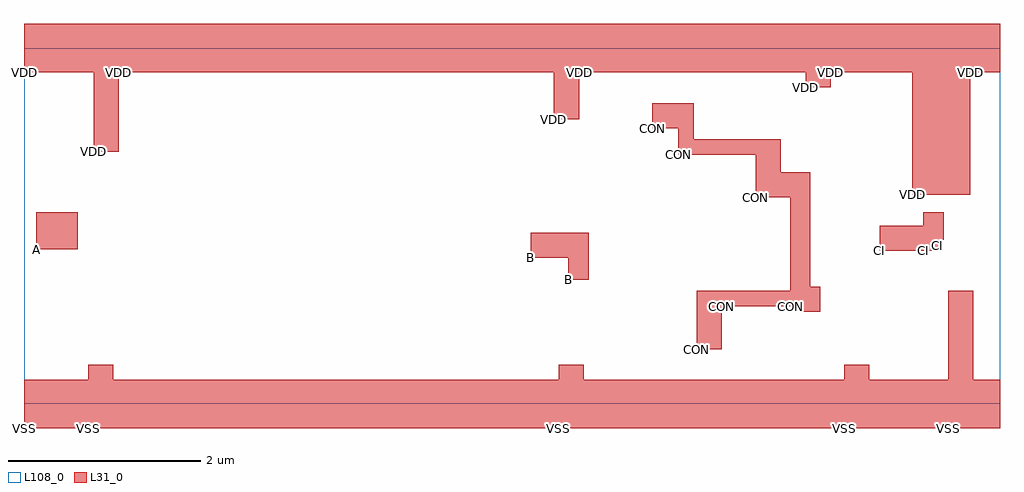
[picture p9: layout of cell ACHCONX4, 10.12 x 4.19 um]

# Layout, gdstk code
import gdstk
lib = gdstk.Library(unit=1e-6, precision=1e-09)
def R(c, l, rs):  # rectangles x0, y0, x1, y1
    for r in rs: c.add(gdstk.rectangle(r[:2], r[2:], *l))
L31_0 = (31, 0)
L108_0 = (108, 0)

achconx4 = lib.new_cell('ACHCONX4')
R(achconx4, L31_0, [(0,-0.25,0.665,0.25), (0.665,-0.25,0.925,0.405), (0.925,-0.25,5.545,0.25), (5.545,-0.25,5.805,0.405), (5.805,-0.25,8.505,0.25), (8.505,-0.25,8.765,0.405), (8.765,-0.25,9.585,0.25), (9.585,-0.25,9.845,1.175), (9.845,-0.25,10.12,0.25), (6.975,0.565,7.235,1.175), (7.995,0.955,8.155,2.4), (8.155,0.955,8.255,1.215), (7.235,1.015,7.945,1.175), (7.945,1.015,7.995,2.4), (5.645,1.29,5.855,1.775), (5.255,1.515,5.645,1.775), (8.875,1.59,9.325,1.85), (9.325,1.59,9.475,1.99), (0.125,1.605,0.555,1.99), (9.475,1.64,9.51,1.99), (9.51,1.7,9.535,1.99), (7.585,2.145,7.845,2.745), (7.845,2.145,7.945,2.4), (9.21,2.17,9.81,3.94), (6.785,2.585,6.945,3.12), (6.945,2.585,7.585,2.745), (0.725,2.615,0.985,3.94), (6.515,2.86,6.785,3.12), (5.495,2.95,5.755,3.94), (8.105,3.285,8.365,3.94), (0,3.44,0.725,3.94), (0.985,3.44,5.495,3.94), (5.755,3.44,8.105,3.94), (8.365,3.44,9.21,3.94), (9.81,3.44,10.12,3.94)])
R(achconx4, L108_0, [(0,0,10.12,3.69)])
achconx4.add(gdstk.Label('CON', (6.515,2.86), layer=131, texttype=0))
achconx4.add(gdstk.Label('CON', (6.785,2.585), layer=131, texttype=0))
achconx4.add(gdstk.Label('CON', (6.975,0.565), layer=131, texttype=0))
achconx4.add(gdstk.Label('CON', (6.945,2.585), layer=131, texttype=0))
achconx4.add(gdstk.Label('CON', (7.585,2.145), layer=131, texttype=0))
achconx4.add(gdstk.Label('CON', (7.845,2.145), layer=131, texttype=0))
achconx4.add(gdstk.Label('CON', (7.235,1.015), layer=131, texttype=0))
achconx4.add(gdstk.Label('CON', (7.945,1.015), layer=131, texttype=0))
achconx4.add(gdstk.Label('CON', (7.995,0.955), layer=131, texttype=0))
achconx4.add(gdstk.Label('CON', (8.155,0.955), layer=131, texttype=0))
achconx4.add(gdstk.Label('CI', (8.875,1.59), layer=131, texttype=0))
achconx4.add(gdstk.Label('CI', (9.325,1.59), layer=131, texttype=0))
achconx4.add(gdstk.Label('CI', (9.475,1.64), layer=131, texttype=0))
achconx4.add(gdstk.Label('CI', (9.51,1.7), layer=131, texttype=0))
achconx4.add(gdstk.Label('B', (5.255,1.515), layer=131, texttype=0))
achconx4.add(gdstk.Label('B', (5.645,1.29), layer=131, texttype=0))
achconx4.add(gdstk.Label('A', (0.125,1.605), layer=131, texttype=0))
achconx4.add(gdstk.Label('VSS', (0,-0.25), layer=131, texttype=0))
achconx4.add(gdstk.Label('VSS', (0.665,-0.25), layer=131, texttype=0))
achconx4.add(gdstk.Label('VSS', (0.925,-0.25), layer=131, texttype=0))
achconx4.add(gdstk.Label('VSS', (5.545,-0.25), layer=131, texttype=0))
achconx4.add(gdstk.Label('VSS', (5.805,-0.25), layer=131, texttype=0))
achconx4.add(gdstk.Label('VSS', (8.505,-0.25), layer=131, texttype=0))
achconx4.add(gdstk.Label('VSS', (8.765,-0.25), layer=131, texttype=0))
achconx4.add(gdstk.Label('VSS', (9.585,-0.25), layer=131, texttype=0))
achconx4.add(gdstk.Label('VSS', (9.845,-0.25), layer=131, texttype=0))
achconx4.add(gdstk.Label('VDD', (0,3.44), layer=131, texttype=0))
achconx4.add(gdstk.Label('VDD', (0.725,2.615), layer=131, texttype=0))
achconx4.add(gdstk.Label('VDD', (0.985,3.44), layer=131, texttype=0))
achconx4.add(gdstk.Label('VDD', (5.495,2.95), layer=131, texttype=0))
achconx4.add(gdstk.Label('VDD', (5.755,3.44), layer=131, texttype=0))
achconx4.add(gdstk.Label('VDD', (8.105,3.285), layer=131, texttype=0))
achconx4.add(gdstk.Label('VDD', (8.365,3.44), layer=131, texttype=0))
achconx4.add(gdstk.Label('VDD', (9.21,2.17), layer=131, texttype=0))
achconx4.add(gdstk.Label('VDD', (9.81,3.44), layer=131, texttype=0))

lib.write_gds('ACHCONX4.gds')
